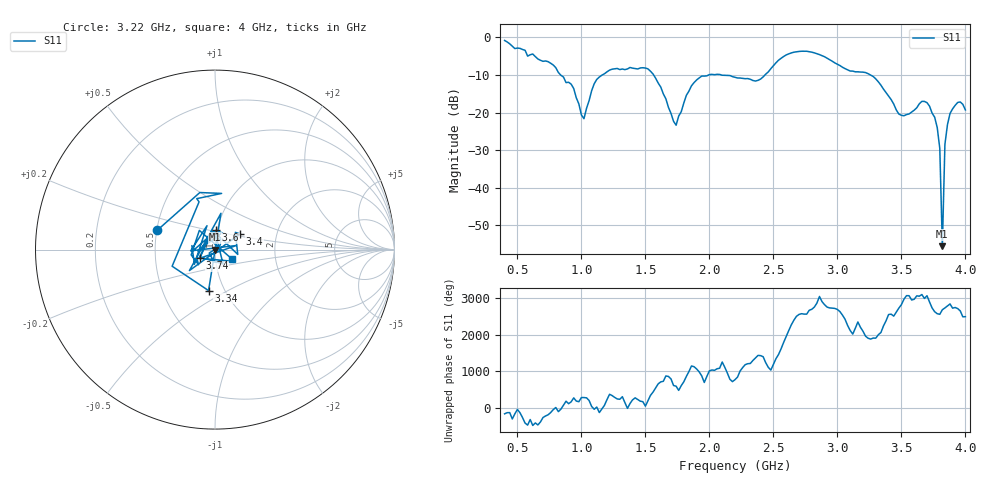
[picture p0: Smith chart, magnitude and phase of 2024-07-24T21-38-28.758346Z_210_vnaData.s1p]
!Created with skrf (http://scikit-rf.org).
# Hz S RI R 50.0
!freq ReS11 ImS11
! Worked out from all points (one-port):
!   181 points, 400 MHz to 4 GHz, reference 50 ohm
!   lowest |S11| = -55.6 dB at 3.82 GHz (marker M1), VSWR 1.00, Z = 49.8 + j0.0513 ohm
!   |S11| at or under -10 dB: 837.7 MHz to 1.163 GHz (325.4 MHz wide, 32.5 % of centre); 1.564 GHz to 1.994 GHz (429.5 MHz wide, 24.1 % of centre); 3.258 GHz to end of sweep (the widest 3 of 4)
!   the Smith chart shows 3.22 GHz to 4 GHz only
!   S11 on the Smith chart (normalised r, x): 3.22 GHz: 0.50, +0.12; 3.34 GHz: 0.84, -0.41; 3.4 GHz: 1.30, +0.23; 3.6 GHz: 0.99, +0.21; 3.74 GHz: 0.84, -0.08; 4 GHz: 1.21, -0.12
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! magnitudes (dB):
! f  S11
! 400 MHz  -0.8
! 860 MHz  -10.6
! 940 MHz  -13.6
! 1.02 GHz  -21.6
! 1.12 GHz  -11.2
! 1.3 GHz  -8.6
! 1.52 GHz  -8.4
! 1.72 GHz  -22.4
! 1.76 GHz  -21.0
! 1.94 GHz  -10.3
! 2.2 GHz  -10.6
! 2.38 GHz  -11.4
! 2.66 GHz  -3.9
! 3.1 GHz  -9.0
! 3.22 GHz  -9.4
! 3.34 GHz  -12.7
! 3.4 GHz  -15.6
! 3.56 GHz  -20.4
! 3.6 GHz  -19.4
! 3.68 GHz  -17.1
! 3.74 GHz  -20.2
! 3.78 GHz  -24.0
! 3.8 GHz  -29.6
! 3.82 GHz  -55.6
! 3.84 GHz  -28.5
! 3.86 GHz  -23.2
! 3.94 GHz  -17.3
! 4 GHz  -19.3
